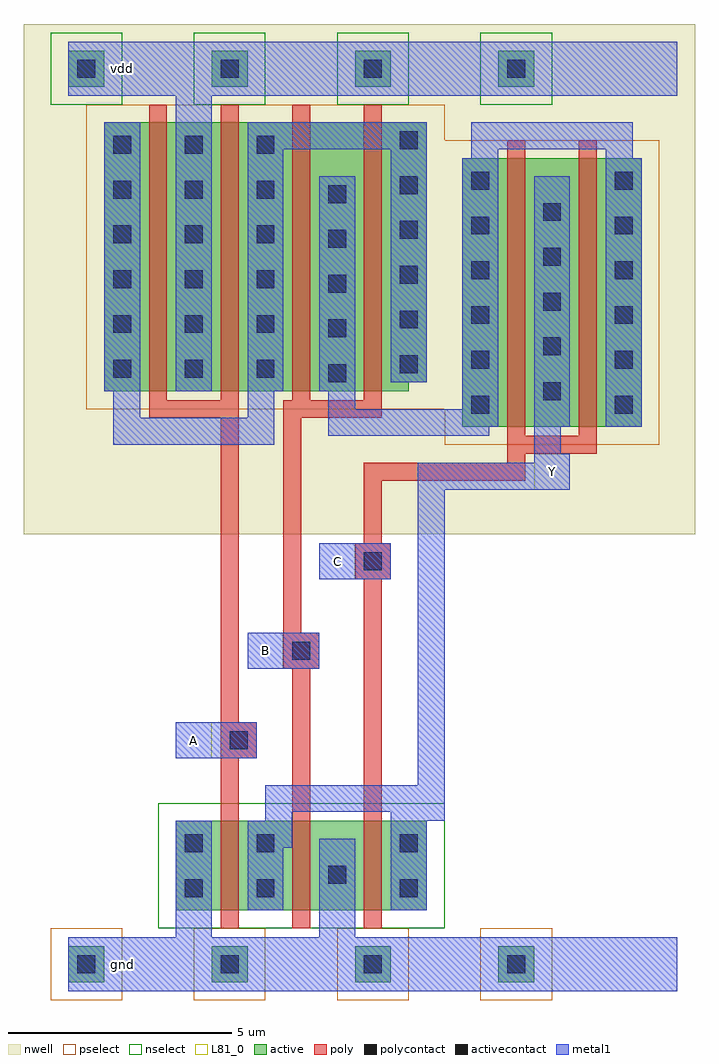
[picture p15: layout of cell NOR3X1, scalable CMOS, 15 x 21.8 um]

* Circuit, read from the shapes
.subckt NOR3X1 A B C Y gnd vdd
M1 Y A gnd gnd nfet w=2u l=0.4u
M2 gnd B Y gnd nfet w=2u l=0.4u
M3 Y C gnd gnd nfet w=2u l=0.4u
M4 vdd A n1 vdd pfet w=6u l=0.4u m=2
M5 n2 B n1 vdd pfet w=6u l=0.4u m=2
M6 Y C n2 vdd pfet w=6u l=0.4u m=2
.ends

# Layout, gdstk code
import gdstk
lib = gdstk.Library(unit=1e-6, precision=1e-09)
def R(c, l, rs):  # rectangles x0, y0, x1, y1
    for r in rs: c.add(gdstk.rectangle(r[:2], r[2:], *l))
def A(c, l, x, y, w, h, nx, ny, dx, dy):  # array of equal rectangles
    R(c, l, [(x+i*dx, y+j*dy, x+i*dx+w, y+j*dy+h) for i in range(nx) for j in range(ny)])
nwell = (42, 0)
active = (43, 0)
pselect = (44, 0)
nselect = (45, 0)
poly = (46, 0)
polycontact = (47, 0)
activecontact = (48, 0)
metal1 = (49, 0)
L81_0 = (81, 0)

nor3x1 = lib.new_cell('NOR3X1')
R(nor3x1, nwell, [(-1.4,9.6,13.6,21)])
A(nor3x1, active, -0.4, -0.4, 0.8, 0.8, 4, 2, 3.2, 20)
R(nor3x1, active, [(2,1.2,7.6,3.2), (8.4,12,12.4,18), (0.4,12.8,7.2,13), (0.4,13,7.6,18.8)])
A(nor3x1, pselect, -0.8, -0.8, 1.6, 1.6, 4, 1, 3.2, 0)
R(nor3x1, pselect, [(8,11.6,12.8,12.4), (0,12.4,12.8,18.4), (0,18.4,8,19.2)])
A(nor3x1, nselect, -0.8, 19.2, 1.6, 1.6, 4, 1, 3.2, 0)
R(nor3x1, nselect, [(1.6,0.8,8,3.6)])
A(nor3x1, poly, 1.4, 12.6, 0.4, 6.6, 4, 1, 1.6, 0)
R(nor3x1, poly, [(3,0.8,3.4,4.6), (4.6,0.8,5,6.6), (6.2,0.8,6.6,8.6), (3,4.6,3.8,5.4), (3,5.4,3.4,12.2), (4.4,6.6,5.2,7.4), (4.4,7.4,4.8,12.2), (6,8.6,6.8,9.4), (6.2,9.4,6.6,10.8), (6.2,10.8,9.8,11.2), (9.4,11.2,9.8,11.4), (9.4,11.4,11.4,11.8), (9.4,11.8,9.8,18.4), (11,11.8,11.4,18.4), (1.4,12.2,3.4,12.6), (4.4,12.2,6.6,12.6)])
R(nor3x1, polycontact, [(3.2,4.8,3.6,5.2), (4.6,6.8,5,7.2), (6.2,8.8,6.6,9.2)])
A(nor3x1, activecontact, -0.2, -0.2, 0.4, 0.4, 4, 2, 3.2, 20)
A(nor3x1, activecontact, 8.6, 12.3, 0.4, 0.4, 1, 6, 0, 1)
A(nor3x1, activecontact, 11.8, 12.3, 0.4, 0.4, 1, 6, 0, 1)
A(nor3x1, activecontact, 10.2, 12.6, 0.4, 0.4, 1, 5, 0, 1)
A(nor3x1, activecontact, 5.4, 13, 0.4, 0.4, 1, 5, 0, 1)
A(nor3x1, activecontact, 0.6, 13.1, 0.4, 0.4, 3, 6, 1.6, 1)
A(nor3x1, activecontact, 7, 13.2, 0.4, 0.4, 1, 6, 0, 1)
R(nor3x1, activecontact, [(2.2,1.5,2.6,1.9), (3.8,1.5,4.2,1.9), (7,1.5,7.4,1.9), (5.4,1.8,5.8,2.2), (2.2,2.5,2.6,2.9), (3.8,2.5,4.2,2.9), (7,2.5,7.4,2.9)])
R(nor3x1, metal1, [(-0.4,-0.6,13.2,0.6), (2,0.6,2.8,3.2), (5.2,0.6,6,2.8), (3.6,1.2,4.4,2.6), (6.8,1.2,7.6,3.2), (3.6,2.6,4.6,3.2), (4,3.2,4.6,3.4), (6.8,3.2,8,3.4), (4,3.4,8,4), (7.4,4,8,10.6), (2,4.6,3.8,5.4), (3.6,6.6,5.2,7.4), (5.2,8.6,6.8,9.4), (7.4,10.6,10.8,11.2), (10,11.2,10.8,11.4), (10,11.4,10.6,12), (0.6,11.6,4.2,12.2), (5.4,11.8,9,12), (5.4,12,9.2,12.4), (10,12,10.8,17.6), (11.6,12,12.4,18), (0.6,12.2,1.2,12.8), (3.6,12.2,4.2,12.8), (5.4,12.4,6,12.8), (8.4,12.4,9.2,18), (0.4,12.8,1.2,18.8), (2,12.8,2.8,19.4), (3.6,12.8,4.4,18.2), (5.2,12.8,6,17.6), (6.8,13,7.6,18.2), (8.6,18,9.2,18.2), (11.6,18,12.2,18.2), (3.6,18.2,7.6,18.8), (8.6,18.2,12.2,18.8), (-0.4,19.4,13.2,20.6)])
R(nor3x1, L81_0, [(2,4.6,2.8,5.4), (3.6,6.6,4.4,7.4), (5.2,8.6,6,9.4), (10,10.6,10.8,11.4)])
nor3x1.add(gdstk.Label('vdd', (0.8,20), layer=109, texttype=0))
nor3x1.add(gdstk.Label('gnd', (0.8,0), layer=109, texttype=0))
nor3x1.add(gdstk.Label('B', (4,7), layer=109, texttype=0))
nor3x1.add(gdstk.Label('C', (5.6,9), layer=109, texttype=0))
nor3x1.add(gdstk.Label('A', (2.4,5), layer=109, texttype=0))
nor3x1.add(gdstk.Label('Y', (10.4,11), layer=109, texttype=0))

lib.write_gds('NOR3X1.gds')
